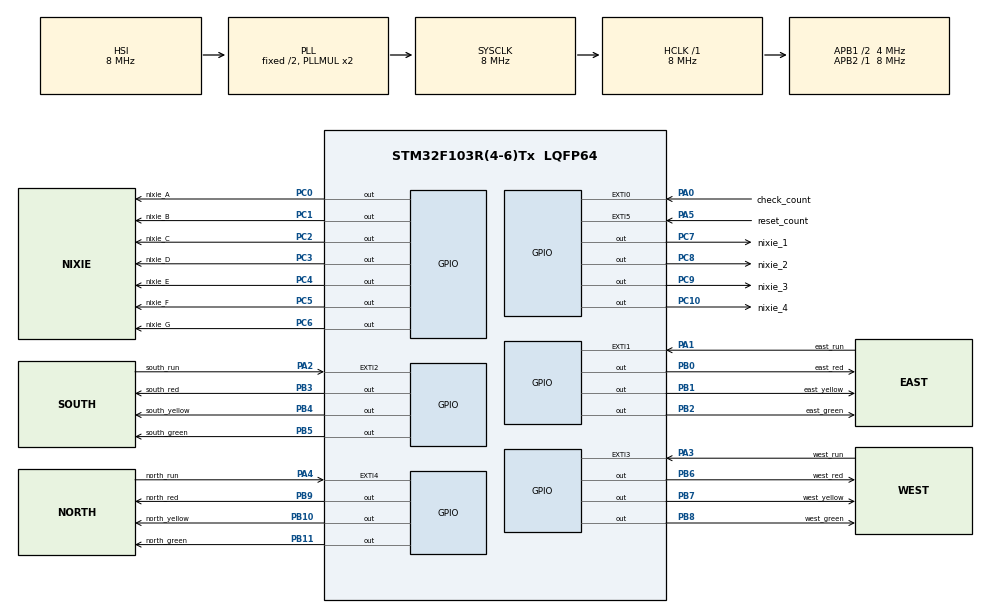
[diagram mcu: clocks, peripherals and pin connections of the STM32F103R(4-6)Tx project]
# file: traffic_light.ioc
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Mcu.Family=STM32F1
Mcu.Name=STM32F103R(4-6)Tx
Mcu.Package=LQFP64
NVIC.EXTI0_IRQn=true\:0\:0\:false\:false\:true\:true\:true
NVIC.EXTI1_IRQn=true\:0\:0\:false\:false\:true\:true\:true
NVIC.EXTI2_IRQn=true\:0\:0\:false\:false\:true\:true\:true
NVIC.EXTI3_IRQn=true\:0\:0\:false\:false\:true\:true\:true
NVIC.EXTI4_IRQn=true\:0\:0\:false\:false\:true\:true\:true
NVIC.EXTI9_5_IRQn=true\:0\:0\:false\:false\:true\:true\:true
NVIC.FLASH_IRQn=true\:0\:0\:false\:false\:true\:true\:true
NVIC.PVD_IRQn=true\:0\:0\:false\:false\:true\:true\:true
NVIC.PriorityGroup=NVIC_PRIORITYGROUP_4
NVIC.RCC_IRQn=true\:0\:0\:false\:false\:true\:true\:false
PA0-WKUP.GPIO_Label=check_count
PA0-WKUP.GPIO_ModeDefaultEXTI=GPIO_MODE_IT_RISING_FALLING
PA0-WKUP.Signal=GPXTI0
PA1.GPIO_Label=east_run
PA1.GPIO_ModeDefaultEXTI=GPIO_MODE_IT_RISING_FALLING
PA1.Signal=GPXTI1
PA2.GPIO_Label=south_run
PA2.GPIO_ModeDefaultEXTI=GPIO_MODE_IT_RISING_FALLING
PA2.Signal=GPXTI2
PA3.GPIO_Label=west_run
PA3.GPIO_ModeDefaultEXTI=GPIO_MODE_IT_RISING_FALLING
PA3.Signal=GPXTI3
PA4.GPIO_Label=north_run
PA4.GPIO_ModeDefaultEXTI=GPIO_MODE_IT_RISING_FALLING
PA4.Signal=GPXTI4
PA5.GPIO_Label=reset_count
PA5.GPIO_ModeDefaultEXTI=GPIO_MODE_IT_RISING_FALLING
PA5.Signal=GPXTI5
PB0.GPIO_Label=east_red
PB0.PinState=GPIO_PIN_SET
PB0.Signal=GPIO_Output
PB1.GPIO_Label=east_yellow
PB1.PinState=GPIO_PIN_SET
PB1.Signal=GPIO_Output
PB10.GPIO_Label=north_yellow
PB10.PinState=GPIO_PIN_SET
PB10.Signal=GPIO_Output
PB11.GPIO_Label=north_green
PB11.PinState=GPIO_PIN_SET
PB11.Signal=GPIO_Output
PB2.GPIO_Label=east_green
PB2.PinState=GPIO_PIN_SET
PB2.Signal=GPIO_Output
PB3.GPIO_Label=south_red
PB3.PinState=GPIO_PIN_SET
PB3.Signal=GPIO_Output
PB4.GPIO_Label=south_yellow
PB4.PinState=GPIO_PIN_SET
PB4.Signal=GPIO_Output
PB5.GPIO_Label=south_green
PB5.PinState=GPIO_PIN_SET
PB5.Signal=GPIO_Output
PB6.GPIO_Label=west_red
PB6.PinState=GPIO_PIN_SET
PB6.Signal=GPIO_Output
PB7.GPIO_Label=west_yellow
PB7.PinState=GPIO_PIN_SET
PB7.Signal=GPIO_Output
PB8.GPIO_Label=west_green
PB8.PinState=GPIO_PIN_SET
PB8.Signal=GPIO_Output
PB9.GPIO_Label=north_red
PB9.PinState=GPIO_PIN_SET
PB9.Signal=GPIO_Output
PC0.GPIO_Label=nixie_A
PC0.Signal=GPIO_Output
PC1.GPIO_Label=nixie_B
PC1.Signal=GPIO_Output
PC10.GPIO_Label=nixie_4
PC10.PinState=GPIO_PIN_SET
PC10.Signal=GPIO_Output
PC2.GPIO_Label=nixie_C
PC2.Signal=GPIO_Output
PC3.GPIO_Label=nixie_D
PC3.Signal=GPIO_Output
PC4.GPIO_Label=nixie_E
PC4.Signal=GPIO_Output
PC5.GPIO_Label=nixie_F
PC5.Signal=GPIO_Output
PC6.GPIO_Label=nixie_G
PC6.Signal=GPIO_Output
PC7.GPIO_Label=nixie_1
PC7.PinState=GPIO_PIN_SET
PC7.Signal=GPIO_Output
PC8.GPIO_Label=nixie_2
PC8.PinState=GPIO_PIN_SET
PC8.Signal=GPIO_Output
PC9.GPIO_Label=nixie_3
PC9.PinState=GPIO_PIN_SET
PC9.Signal=GPIO_Output
ProjectManager.HeapSize=0x200
ProjectManager.StackSize=0x400
ProjectManager.TargetToolchain=MDK-ARM V5.32
RCC.AHBFreq_Value=8000000
RCC.APB1CLKDivider=RCC_HCLK_DIV2
RCC.APB1Freq_Value=4000000
RCC.APB1TimFreq_Value=8000000
RCC.APB2Freq_Value=8000000
RCC.APB2TimFreq_Value=8000000
RCC.HCLKFreq_Value=8000000
RCC.SYSCLKFreq_VALUE=8000000
RCC.SYSCLKSource=RCC_SYSCLKSOURCE_PLLCLK
RCC.USBFreq_Value=8000000
VP_SYS_VS_ND.Mode=No_Debug
board=custom

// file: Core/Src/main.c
/* USER CODE BEGIN Header */
/**
  ******************************************************************************
  * @file           : main.c
  * @brief          : Main program body
  ******************************************************************************
  * @attention
  *
  * <h2><center>&copy; Copyright (c) 2022 STMicroelectronics.
  * All rights reserved.</center></h2>
  *
  * This software component is licensed by ST under BSD 3-Clause license,
  * the "License"; You may not use this file except in compliance with the
  * License. You may obtain a copy of the License at:
  *                        opensource.org/licenses/BSD-3-Clause
  *
  ******************************************************************************
  */
/* USER CODE END Header */
#include "main.h"

/* USER CODE BEGIN PV */
int east_count;
int west_count;
int south_count;
int north_count;
uint8_t check_flag;
uint8_t east_flag;
uint8_t west_flag;
uint8_t south_flag;
uint8_t north_flag;
/* USER CODE END PV */

void SystemClock_Config(void);
static void MX_GPIO_Init(void);

int main(void)
{

  /* MCU Configuration--------------------------------------------------------*/

  /* Reset of all peripherals, Initializes the Flash interface and the Systick. */
  HAL_Init();

  /* Configure the system clock */
  SystemClock_Config();

  /* Initialize all configured peripherals */
  MX_GPIO_Init();

  /* Infinite loop */
  /* USER CODE BEGIN WHILE */
  while (1)
  {
    traffic_light_loop();
    if(east_flag == 1){
      east_flag = 0;
      Nixie_east_run();
    }
    if(west_flag == 1){
      west_flag = 0;
      Nixie_west_run();
    }
    if(south_flag == 1){
      south_flag = 0;
      Nixie_south_run();
    }
    if(north_flag == 1){
      north_flag = 0;
      Nixie_north_run();
    }
    if(check_flag == 1){
      check_flag = 0;
      Nixie_display_count(east_count, west_count, south_count, north_count);
    }
    /* USER CODE END WHILE */
  }
}

void SystemClock_Config(void)
{
  RCC_OscInitTypeDef RCC_OscInitStruct = {0};
  RCC_ClkInitTypeDef RCC_ClkInitStruct = {0};

  /** Initializes the RCC Oscillators according to the specified parameters
  * in the RCC_OscInitTypeDef structure.
  */
  RCC_OscInitStruct.OscillatorType = RCC_OSCILLATORTYPE_HSI;
  RCC_OscInitStruct.HSIState = RCC_HSI_ON;
  RCC_OscInitStruct.HSICalibrationValue = RCC_HSICALIBRATION_DEFAULT;
  RCC_OscInitStruct.PLL.PLLState = RCC_PLL_ON;
  RCC_OscInitStruct.PLL.PLLSource = RCC_PLLSOURCE_HSI_DIV2;
  RCC_OscInitStruct.PLL.PLLMUL = RCC_PLL_MUL2;
  if (HAL_RCC_OscConfig(&RCC_OscInitStruct) != HAL_OK)
  {
    Error_Handler();
  }
  /** Initializes the CPU, AHB and APB buses clocks
  */
  RCC_ClkInitStruct.ClockType = RCC_CLOCKTYPE_HCLK|RCC_CLOCKTYPE_SYSCLK
                              |RCC_CLOCKTYPE_PCLK1|RCC_CLOCKTYPE_PCLK2;
  RCC_ClkInitStruct.SYSCLKSource = RCC_SYSCLKSOURCE_PLLCLK;
  RCC_ClkInitStruct.AHBCLKDivider = RCC_SYSCLK_DIV1;
  RCC_ClkInitStruct.APB1CLKDivider = RCC_HCLK_DIV2;
  RCC_ClkInitStruct.APB2CLKDivider = RCC_HCLK_DIV1;

  if (HAL_RCC_ClockConfig(&RCC_ClkInitStruct, FLASH_LATENCY_0) != HAL_OK)
  {
    Error_Handler();
  }
}

static void MX_GPIO_Init(void)
{
  GPIO_InitTypeDef GPIO_InitStruct = {0};

  /* GPIO Ports Clock Enable */
  __HAL_RCC_GPIOC_CLK_ENABLE();
  __HAL_RCC_GPIOA_CLK_ENABLE();
  __HAL_RCC_GPIOB_CLK_ENABLE();

  /*Configure GPIO pin Output Level */
  HAL_GPIO_WritePin(GPIOA, nixie_A_Pin|nixie_B_Pin|nixie_C_Pin|nixie_D_Pin
                          |nixie_E_Pin|nixie_F_Pin|nixie_G_Pin, GPIO_PIN_RESET);

  /*Configure GPIO pin Output Level */
  HAL_GPIO_WritePin(GPIOB, east_red_Pin|east_yellow_Pin|east_green_Pin|north_yellow_Pin
                          |north_green_Pin|south_red_Pin|south_yellow_Pin|south_green_Pin
                          |west_red_Pin|west_yellow_Pin|west_green_Pin|north_red_Pin, GPIO_PIN_SET);

  /*Configure GPIO pin Output Level */
  HAL_GPIO_WritePin(GPIOB, nixie_1_Pin|nixie_2_Pin|nixie_3_Pin|nixie_4_Pin, GPIO_PIN_SET);

  /*Configure GPIO pins : nixie_A_Pin nixie_B_Pin nixie_C_Pin nixie_D_Pin
                           nixie_E_Pin nixie_F_Pin nixie_G_Pin nixie_1_Pin
                           nixie_2_Pin nixie_3_Pin nixie_4_Pin */
  GPIO_InitStruct.Pin = nixie_A_Pin|nixie_B_Pin|nixie_C_Pin|nixie_D_Pin
                          |nixie_E_Pin|nixie_F_Pin|nixie_G_Pin;
  GPIO_InitStruct.Mode = GPIO_MODE_OUTPUT_PP;
  GPIO_InitStruct.Pull = GPIO_NOPULL;
  GPIO_InitStruct.Speed = GPIO_SPEED_FREQ_LOW;
  HAL_GPIO_Init(GPIOA, &GPIO_InitStruct);

  GPIO_InitStruct.Pin = nixie_1_Pin|nixie_2_Pin|nixie_3_Pin|nixie_4_Pin;
  GPIO_InitStruct.Mode = GPIO_MODE_OUTPUT_PP;
  GPIO_InitStruct.Pull = GPIO_NOPULL;
  GPIO_InitStruct.Speed = GPIO_SPEED_FREQ_LOW;
  HAL_GPIO_Init(GPIOB, &GPIO_InitStruct);

  /*Configure GPIO pins : check_count_Pin east_run_Pin south_run_Pin west_run_Pin
                           north_run_Pin reset_count_Pin */
  GPIO_InitStruct.Pin = check_count_Pin|east_run_Pin|south_run_Pin|west_run_Pin
                          |north_run_Pin|reset_count_Pin;
  GPIO_InitStruct.Mode = GPIO_MODE_IT_RISING_FALLING;
  GPIO_InitStruct.Pull = GPIO_NOPULL;
  HAL_GPIO_Init(GPIOA, &GPIO_InitStruct);

  /*Configure GPIO pins : east_red_Pin east_yellow_Pin east_green_Pin north_yellow_Pin
                           north_green_Pin south_red_Pin south_yellow_Pin south_green_Pin
                           west_red_Pin west_yellow_Pin west_green_Pin north_red_Pin */
  GPIO_InitStruct.Pin = east_red_Pin|east_yellow_Pin|east_green_Pin|north_yellow_Pin
                          |north_green_Pin|south_red_Pin|south_yellow_Pin|south_green_Pin
                          |west_red_Pin|west_yellow_Pin|west_green_Pin|north_red_Pin;
  GPIO_InitStruct.Mode = GPIO_MODE_OUTPUT_PP;
  GPIO_InitStruct.Pull = GPIO_NOPULL;
  GPIO_InitStruct.Speed = GPIO_SPEED_FREQ_LOW;
  HAL_GPIO_Init(GPIOB, &GPIO_InitStruct);

  /* EXTI interrupt init*/
  HAL_NVIC_SetPriority(EXTI0_IRQn, 0, 0);
  HAL_NVIC_EnableIRQ(EXTI0_IRQn);

  HAL_NVIC_SetPriority(EXTI1_IRQn, 0, 0);
  HAL_NVIC_EnableIRQ(EXTI1_IRQn);

  HAL_NVIC_SetPriority(EXTI2_IRQn, 0, 0);
  HAL_NVIC_EnableIRQ(EXTI2_IRQn);

  HAL_NVIC_SetPriority(EXTI3_IRQn, 0, 0);
  HAL_NVIC_EnableIRQ(EXTI3_IRQn);

  HAL_NVIC_SetPriority(EXTI4_IRQn, 0, 0);
  HAL_NVIC_EnableIRQ(EXTI4_IRQn);

  HAL_NVIC_SetPriority(EXTI9_5_IRQn, 0, 0);
  HAL_NVIC_EnableIRQ(EXTI9_5_IRQn);
}

void Error_Handler(void)
{
  __disable_irq();
  while (1)
  {
  }
}

/************************ (C) COPYRIGHT STMicroelectronics *****END OF FILE****/
